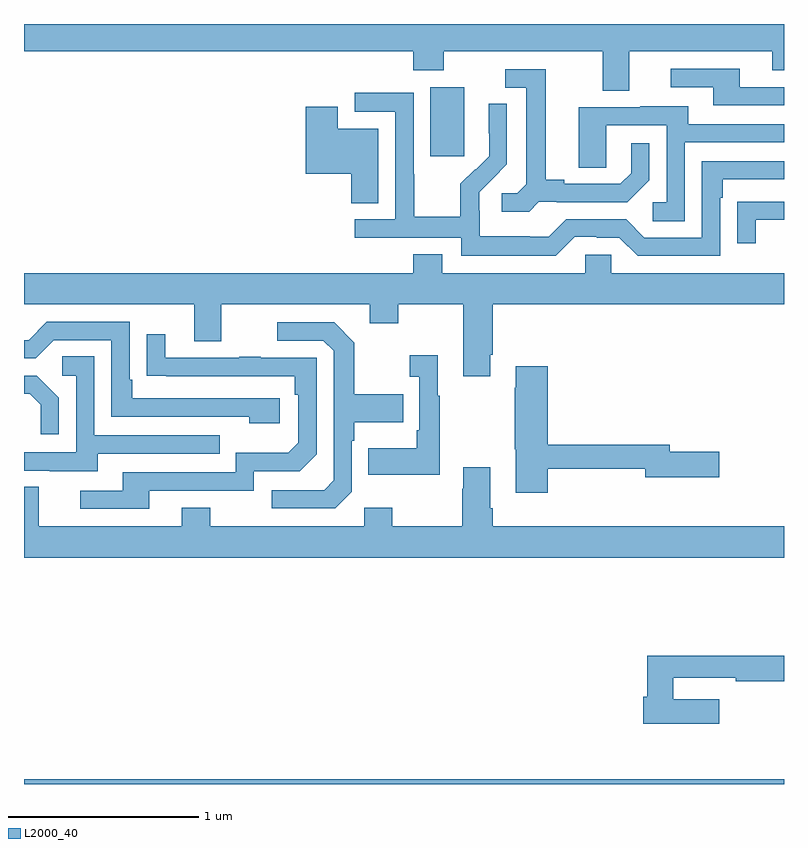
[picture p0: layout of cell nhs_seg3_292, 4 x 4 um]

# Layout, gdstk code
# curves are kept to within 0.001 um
import gdstk
lib = gdstk.Library(unit=1e-6, precision=1e-09)
def R(c, l, rs):  # rectangles x0, y0, x1, y1
    for r in rs: c.add(gdstk.rectangle(r[:2], r[2:], *l))
def P(c, l, *ps):  # polygons
    for p in ps: c.add(gdstk.Polygon(p, *l))
L2000_40 = (2000, 40)

nhs_seg3_292 = lib.new_cell('nhs_seg3_292')
R(nhs_seg3_292, L2000_40, [(125,690.4,129,690.424), (127.139,693.705,127.318,694.066)])
P(nhs_seg3_292, L2000_40, [(128.185,694.256),(128.939,694.256),(128.939,694.157),(129,694.157),(129,694.4),(125,694.4),(125,694.256),(127.049,694.256),(127.049,694.157),(127.209,694.157),(127.209,694.256),(128.045,694.256),(128.045,694.048),(128.185,694.048)],
  [(129,694.068),(128.767,694.068),(128.767,694.164),(128.403,694.164),(128.403,694.068),(128.627,694.068),(128.627,693.972),(129,693.972)],
  [(127.71,693.465),(127.804,693.465),(127.804,693.462),(128.176,693.462),(128.292,693.578),(128.292,693.772),(128.195,693.772),(128.195,693.615),(128.138,693.558),(127.843,693.558),(127.843,693.581),(127.747,693.581),(127.747,694.161),(127.533,694.161),(127.533,694.065),(127.643,694.065),(127.643,693.557),(127.596,693.51),(127.515,693.51),(127.515,693.413),(127.658,693.413)],
  [(127.899,693.279),(128.015,693.279),(128.015,693.276),(128.133,693.276),(128.229,693.18),(128.664,693.18),(128.664,693.485),(128.677,693.485),(128.677,693.582),(129,693.582),(129,693.678),(128.568,693.678),(128.568,693.276),(128.265,693.276),(128.169,693.372),(127.854,693.372),(127.761,693.279),(127.661,693.279),(127.661,693.283),(127.398,693.283),(127.398,693.417),(127.396,693.417),(127.396,693.514),(127.542,693.662),(127.542,693.98),(127.446,693.98),(127.446,693.826),(127.448,693.826),(127.448,693.704),(127.377,693.633),(127.374,693.636),(127.297,693.559),(127.297,693.385),(127.053,693.385),(127.053,693.608),(127.05,693.608),(127.05,694.038),(126.741,694.038),(126.741,693.939),(126.954,693.939),(126.954,693.372),(126.741,693.372),(126.741,693.276),(127.302,693.276),(127.302,693.179),(127.799,693.179)],
  [(128.478,693.777),(129,693.777),(129,693.873),(128.497,693.873),(128.497,693.967),(128.243,693.967),(128.243,693.963),(127.919,693.963),(127.919,693.643),(128.064,693.643),(128.064,693.867),(128.382,693.867),(128.382,693.462),(128.31,693.462),(128.31,693.361),(128.478,693.361)],
  [(126.865,693.85),(126.652,693.85),(126.652,693.964),(126.482,693.964),(126.482,693.611),(126.722,693.611),(126.722,693.457),(126.865,693.457)],
  [(128.851,693.369),(129,693.369),(129,693.465),(128.857,693.465),(128.857,693.464),(128.755,693.464),(128.755,693.246),(128.851,693.246)],
  [(127.453,692.659),(127.466,692.659),(127.466,692.924),(129,692.924),(129,693.088),(128.091,693.088),(128.091,693.186),(127.953,693.186),(127.953,693.088),(127.201,693.088),(127.201,693.187),(127.049,693.187),(127.049,693.088),(125,693.088),(125,692.924),(125.897,692.924),(125.897,692.73),(126.037,692.73),(126.037,692.924),(126.821,692.924),(126.821,692.825),(126.969,692.825),(126.969,692.924),(127.313,692.924),(127.313,692.547),(127.453,692.547)],
  [(126.346,692.43),(125.569,692.43),(125.569,692.527),(125.556,692.527),(125.556,692.832),(125.121,692.832),(125.025,692.736),(125,692.736),(125,692.64),(125.061,692.64),(125.157,692.736),(125.46,692.736),(125.46,692.334),(126.185,692.334),(126.185,692.3),(126.346,692.3)],
  [(126.726,691.938),(126.726,692.207),(126.739,692.207),(126.739,692.303),(126.995,692.303),(126.995,692.451),(126.739,692.451),(126.739,692.723),(126.633,692.829),(126.333,692.829),(126.333,692.733),(126.576,692.733),(126.63,692.679),(126.63,691.998),(126.579,691.947),(126.303,691.947),(126.303,691.851),(126.639,691.851)],
  [(125.659,691.944),(126.21,691.944),(126.21,692.046),(126.45,692.046),(126.54,692.136),(126.54,692.643),(126.245,692.643),(126.245,692.648),(126.133,692.648),(126.133,692.643),(125.743,692.643),(125.743,692.767),(125.647,692.767),(125.647,692.548),(126.424,692.547),(126.424,692.45),(126.444,692.45),(126.444,692.196),(126.391,692.143),(126.114,692.143),(126.114,692.04),(125.519,692.04),(125.519,691.944),(125.295,691.944),(125.295,691.848),(125.659,691.848)],
  [(127.189,692.443),(127.177,692.443),(127.177,692.656),(127.029,692.656),(127.029,692.543),(127.08,692.543),(127.08,692.263),(127.068,692.263),(127.068,692.167),(126.811,692.167),(126.811,692.027),(127.189,692.027)],
  [(125.389,692.139),(126.029,692.139),(126.029,692.235),(125.37,692.235),(125.37,692.651),(125.202,692.651),(125.202,692.55),(125.274,692.55),(125.274,692.145),(125,692.145),(125,692.049),(125.135,692.049),(125.135,692.045),(125.389,692.045)],
  [(127.757,692.058),(128.27,692.058),(128.27,692.015),(128.659,692.015),(128.659,692.15),(128.398,692.15),(128.398,692.186),(127.757,692.186),(127.757,692.599),(127.589,692.599),(127.589,692.486),(127.582,692.486),(127.582,692.163),(127.589,692.163),(127.589,691.932),(127.757,691.932)],
  [(125.184,692.434),(125.068,692.55),(125,692.55),(125,692.454),(125.03,692.454),(125.087,692.397),(125.087,692.241),(125.184,692.241)],
  [(129,691.756),(127.466,691.756),(127.466,691.852),(127.453,691.852),(127.453,692.068),(127.313,692.068),(127.313,691.955),(127.306,691.955),(127.306,691.756),(126.939,691.756),(126.939,691.855),(126.792,691.855),(126.792,691.756),(125.979,691.756),(125.979,691.855),(125.831,691.855),(125.831,691.756),(125.077,691.756),(125.077,691.964),(125,691.964),(125,691.592),(129,691.592)],
  [(128.659,690.847),(128.417,690.847),(128.417,690.96),(128.746,690.96),(128.746,690.94),(129,690.94),(129,691.076),(128.281,691.076),(128.281,690.86),(128.258,690.86),(128.258,690.718),(128.659,690.718)])

lib.write_gds('nhs_seg3_292.gds')
